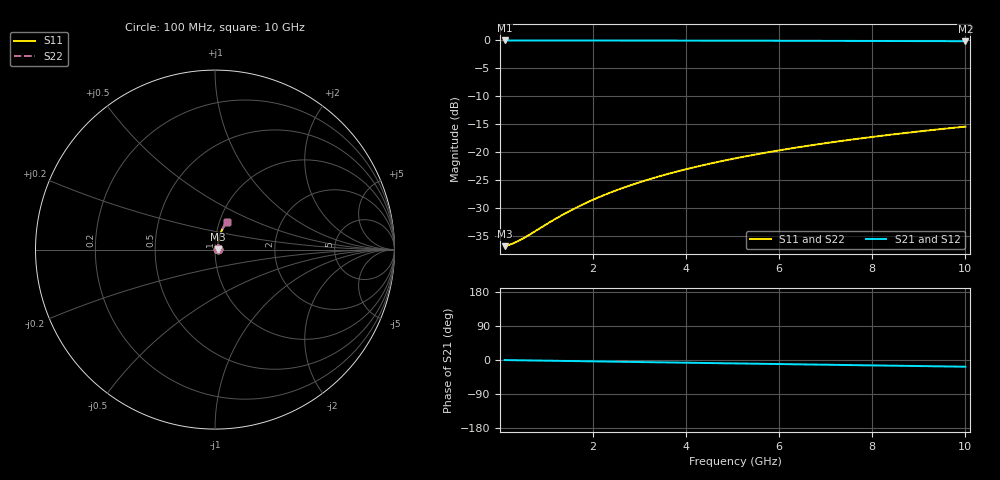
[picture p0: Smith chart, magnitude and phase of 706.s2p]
# Hz S RI R 50.00
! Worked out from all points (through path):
!   100 points, 100 MHz to 10 GHz, reference 50 ohm
!   highest |S21| = -0.13 dB at 100 MHz (marker M1); lowest = -0.3 dB at 10 GHz (marker M2)
!   group delay of S21, straight-line fit = 4.92 ps
!   lowest |S11| = -36.8 dB at 100 MHz (marker M3), VSWR 1.03, Z = 51.5 + j0.172 ohm
!   |S11| at or under -10 dB: start of sweep to end of sweep
!   |S22| runs from -36.8 to -15.5 dB; largest |S21 - S12| = 1e-13
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1e8  0.0143 0.00167  0.9857 -0.00307  0.9857 -0.00307  0.0143 0.00167
2e8  0.0144 0.00335  0.9856 -0.00615  0.9856 -0.00615  0.0144 0.00335
3e8  0.0145 0.00502  0.9855 -0.00922  0.9855 -0.00922  0.0145 0.00502
4e8  0.0146 0.00669  0.9854 -0.0123  0.9854 -0.0123  0.0146 0.00669
6e8  0.0148 0.01  0.9851 -0.0184  0.9851 -0.0184  0.0148 0.01
1e9  0.0153 0.0167  0.9846 -0.0307  0.9846 -0.0307  0.0153 0.0167
1.3e9  0.0157 0.0217  0.9841 -0.0399  0.9841 -0.0399  0.0157 0.0217
1.5e9  0.0161 0.025  0.9837 -0.046  0.9837 -0.046  0.0161 0.025
1.8e9  0.0166 0.03  0.983 -0.0552  0.983 -0.0552  0.0166 0.03
2.1e9  0.0173 0.035  0.9822 -0.0644  0.9822 -0.0644  0.0173 0.035
2.5e9  0.0183 0.0416  0.981 -0.0766  0.981 -0.0766  0.0183 0.0416
2.9e9  0.0195 0.0481  0.9796 -0.0888  0.9796 -0.0888  0.0195 0.0481
3.4e9  0.0212 0.0563  0.9776 -0.1039  0.9776 -0.1039  0.0212 0.0563
3.8e9  0.0227 0.0628  0.9758 -0.116  0.9758 -0.116  0.0227 0.0628
4.2e9  0.0244 0.0692  0.9738 -0.1281  0.9738 -0.1281  0.0244 0.0692
4.6e9  0.0263 0.0756  0.9716 -0.1401  0.9716 -0.1401  0.0263 0.0756
5.1e9  0.0288 0.0835  0.9686 -0.155  0.9686 -0.155  0.0288 0.0835
5.9e9  0.0333 0.0959  0.9631 -0.1786  0.9631 -0.1786  0.0333 0.0959
6.7e9  0.0385 0.1081  0.957 -0.202  0.957 -0.202  0.0385 0.1081
7.5e9  0.0442 0.1199  0.9501 -0.2252  0.9501 -0.2252  0.0442 0.1199
8.4e9  0.0513 0.1329  0.9416 -0.2508  0.9416 -0.2508  0.0513 0.1329
1e10  0.0655 0.1547  0.9244 -0.2951  0.9244 -0.2951  0.0655 0.1547
